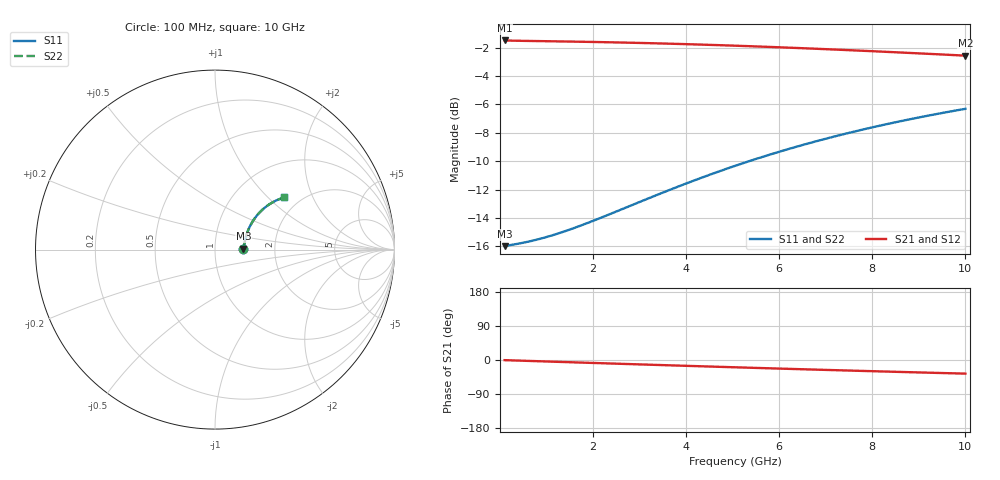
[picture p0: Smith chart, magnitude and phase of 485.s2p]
# Hz S RI R 50.00
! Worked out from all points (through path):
!   100 points, 100 MHz to 10 GHz, reference 50 ohm
!   highest |S21| = -1.50 dB at 100 MHz (marker M1); lowest = -2.6 dB at 10 GHz (marker M2)
!   group delay of S21, straight-line fit = 10 ps
!   lowest |S11| = -16.0 dB at 100 MHz (marker M3), VSWR 1.38, Z = 68.9 + j0.61 ohm
!   |S11| at or under -10 dB: start of sweep to 5.356 GHz
!   |S22| runs from -16.0 to -6.3 dB; largest |S21 - S12| = 0
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1e8  0.1586 0.00432  0.8413 -0.00576  0.8413 -0.00576  0.1586 0.00432
6e8  0.1625 0.0257  0.8374 -0.0343  0.8374 -0.0343  0.1625 0.0257
9e8  0.1647 0.0383  0.8352 -0.0513  0.8352 -0.0513  0.1647 0.0383
1.3e9  0.1682 0.055  0.8316 -0.0738  0.8316 -0.0738  0.1682 0.055
1.5e9  0.1702 0.0633  0.8295 -0.0849  0.8295 -0.0849  0.1702 0.0633
1.8e9  0.1736 0.0755  0.826 -0.1015  0.826 -0.1015  0.1736 0.0755
2.1e9  0.1773 0.0876  0.8221 -0.1179  0.8221 -0.1179  0.1773 0.0876
2.6e9  0.1846 0.1072  0.8146 -0.1448  0.8146 -0.1448  0.1846 0.1072
3.4e9  0.1985 0.1373  0.8001 -0.1864  0.8001 -0.1864  0.1985 0.1373
3.9e9  0.2087 0.155  0.7896 -0.2115  0.7896 -0.2115  0.2087 0.155
4.3e9  0.2175 0.1686  0.7803 -0.2308  0.7803 -0.2308  0.2175 0.1686
4.7e9  0.227 0.1816  0.7705 -0.2497  0.7705 -0.2497  0.227 0.1816
5.1e9  0.237 0.194  0.76 -0.2679  0.76 -0.2679  0.237 0.194
5.5e9  0.2475 0.2057  0.7491 -0.2854  0.7491 -0.2854  0.2475 0.2057
5.9e9  0.2584 0.2168  0.7376 -0.3024  0.7376 -0.3024  0.2584 0.2168
6.3e9  0.2698 0.2272  0.7256 -0.3186  0.7256 -0.3186  0.2698 0.2272
6.7e9  0.2815 0.2369  0.7133 -0.3342  0.7133 -0.3342  0.2815 0.2369
7.5e9  0.3059 0.2542  0.6876 -0.3632  0.6876 -0.3632  0.3059 0.2542
7.9e9  0.3184 0.2618  0.6744 -0.3768  0.6744 -0.3768  0.3184 0.2618
8.4e9  0.3344 0.2704  0.6575 -0.3927  0.6575 -0.3927  0.3344 0.2704
9.2e9  0.3602 0.2818  0.63 -0.416  0.63 -0.416  0.3602 0.2818
1e10  0.3862 0.2906  0.6022 -0.4368  0.6022 -0.4368  0.3862 0.2906
